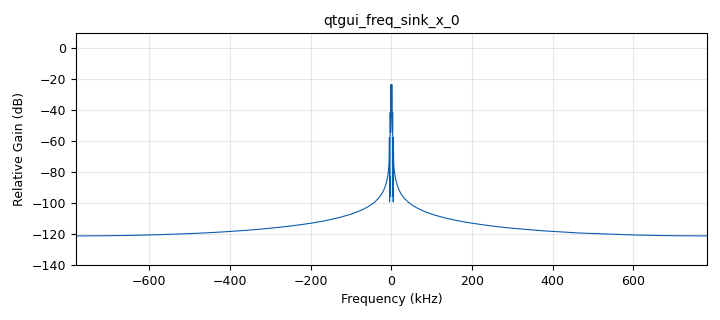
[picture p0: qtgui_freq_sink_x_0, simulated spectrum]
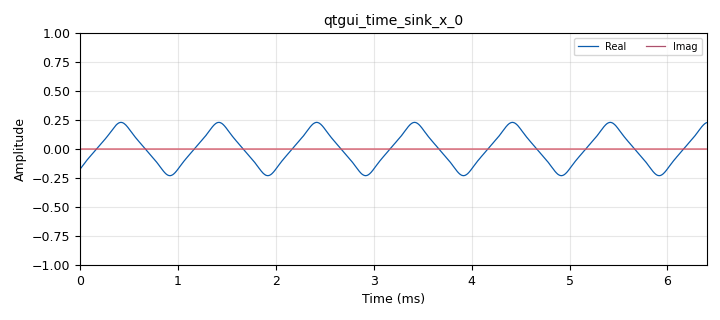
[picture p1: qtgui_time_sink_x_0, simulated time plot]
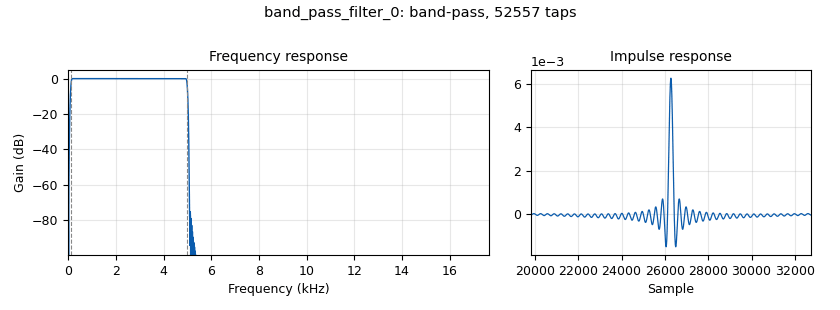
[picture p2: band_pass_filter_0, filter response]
options:
  parameters:
    author: Oscar Reyes / Efrén Acevedo
    generate_options: qt_gui
    id: simple_flowgraph
    output_language: python
    title: Simple flowgraph to test GNU Radio
  states: {}

blocks:
- name: GTX
  id: variable_qtgui_range
  parameters:
    comment: Ganancia del transmisor
    gui_hint: tab_usrp@0:2,0
    label: Tx gain in dB
    start: '0'
    step: '1'
    stop: '30'
    value: '30'
  states: {}
- name: amplitude
  id: variable_qtgui_range
  parameters:
    comment: |-
      Bloque ajuste de variables 
      mientras se ejecuta el flujograma
    gui_hint: tab_source@0:1,0
    label: Amplitude
    start: '0'
    step: '0.1'
    stop: '0.5'
    value: '0.5'
  states: {}
- name: desv_freq
  id: variable_qtgui_range
  parameters:
    gui_hint: tab_channel@0:5,0
    label: Frequency Offset in Hz
    start: '0'
    step: '10'
    stop: 21.05e3
    value: '0'
  states: {}
- name: f_max
  id: variable_qtgui_range
  parameters:
    gui_hint: tab_channel@0:4,0
    label: High Cutoff Frequency in Hz
    start: '0'
    step: '10'
    stop: 21.05e3
    value: '5000'
  states: {}
- name: f_min
  id: variable_qtgui_range
  parameters:
    gui_hint: tab_channel@0:3,0
    label: Low Cutoff Frequency in Hz
    start: '10'
    step: '10'
    stop: 5e3
    value: '100'
  states: {}
- name: fc
  id: variable_qtgui_range
  parameters:
    comment: Frecuencia de portadora
    gui_hint: tab_usrp@0:1,0
    label: Carrier Frequency in MHz
    start: '50'
    step: '0.1'
    stop: '2200'
    value: '100'
  states: {}
- name: frequency
  id: variable_qtgui_range
  parameters:
    gui_hint: tab_source@0:2,0
    label: Frequency in Hz
    start: '0'
    step: '100'
    stop: 1e4
    value: 1e3
  states: {}
- name: noise
  id: variable_qtgui_range
  parameters:
    comment: Amplitud del ruido
    gui_hint: tab_channel@0:1,0
    label: Noise voltage
    start: '0'
    step: '0.01'
    stop: '0.5'
    value: '0'
  states: {}
- name: offset
  id: variable_qtgui_range
  parameters:
    gui_hint: tab_source@0:1,1
    label: Offset
    start: '-5'
    step: '0.1'
    stop: '5'
    value: '0'
  states: {}
- name: phase
  id: variable_qtgui_range
  parameters:
    gui_hint: tab_source@0:2,1
    label: Phase Rad
    start: '0'
    step: '0.1'
    stop: 2*np.pi
    value: '0'
  states: {}
- name: samp_rate
  id: variable
  parameters:
    comment: |-
      Bloque usado para configurar 
      valores de variables que no se
      van a actualizar durante la ejecución
    value: '1562500'
  states: {}
- name: source_type
  id: variable_qtgui_chooser
  parameters:
    comment: |-
      Bloque usado para cambiar 
      el tipo de dato de la fuente
      (complejo o flotante)
    gui_hint: tab_source@0:0,0
    label: Source Type
    labels: '["Complex", "Float"]'
    num_opts: '0'
    options: '[0, 1]'
    type: raw
    value: '1'
  states: {}
- name: waveform
  id: variable_qtgui_chooser
  parameters:
    comment: |-
      Bloque usado para cambiar 
      los tipos de formas de onda
    gui_hint: tab_source@0:0,1
    label: Waveform
    labels: '["Constant", "Sine", "Cosine", "Square", "Triangle", "Saw Tooth"]'
    num_opts: '0'
    options: '[100, 101, 102, 103, 104, 105]'
    type: raw
    value: '104'
  states: {}
- name: analog_sig_source_x_0
  id: analog_sig_source_x
  parameters:
    amp: amplitude
    comment: |-
      Fuente virtual COMPLEJA, 
      genera diferentes formas de onda
    freq: frequency
    offset: offset
    phase: phase
    samp_rate: samp_rate
    type: complex
    waveform: waveform
  states: {}
- name: analog_sig_source_x_0_0
  id: analog_sig_source_x
  parameters:
    amp: amplitude
    comment: |-
      Fuente virtual REAL, 
      genera diferentes formas de onda
    freq: frequency
    offset: offset
    phase: phase
    samp_rate: samp_rate
    type: float
    waveform: waveform
  states: {}
- name: band_pass_filter_0
  id: band_pass_filter
  parameters:
    gain: '1'
    high_cutoff_freq: f_max
    interp: '1'
    low_cutoff_freq: f_min
    samp_rate: samp_rate
    type: interp_fir_filter_ccf
    width: '100'
    win: window.WIN_BLACKMAN
  states: {}
- name: blocks_float_to_complex_0
  id: blocks_float_to_complex
  parameters: {}
  states: {}
- name: blocks_selector_0
  id: blocks_selector
  parameters:
    enabled: 'True'
    input_index: source_type
    num_inputs: '2'
    num_outputs: '1'
    output_index: '0'
    type: complex
  states: {}
- name: blocks_throttle2_0
  id: blocks_throttle2
  parameters:
    comment: |-
      Bloque que permite regular
      el flujo de datos de las fuentes
    samples_per_second: samp_rate
    type: complex
  states: {}
- name: channels_channel_model_0
  id: channels_channel_model
  parameters:
    comment: |-
      Bloque usado para 
      crear un modelo de 
      canal
    epsilon: '1.0'
    freq_offset: desv_freq/samp_rate
    noise_voltage: noise
    seed: '0'
    taps: '1.0'
  states: {}
- name: import_1
  id: import
  parameters:
    comment: |-
      Usado para importar modulos 
      de python adicionales
    imports: import numpy as np
  states: {}
- name: qtgui_freq_sink_x_0
  id: qtgui_freq_sink_x
  parameters:
    bw: samp_rate
    fc: '0'
    fftsize: '16384'
    grid: 'True'
    gui_hint: 3,2,6,2
    type: complex
    wintype: window.WIN_RECTANGULAR
  states: {}
- name: qtgui_time_sink_x_0
  id: qtgui_time_sink_x
  parameters:
    grid: 'True'
    gui_hint: 3,0,6,2
    label1: Real
    label2: Imag
    size: '10000'
    srate: samp_rate
    type: complex
  states: {}
- name: tab_channel
  id: qtgui_tab_widget
  parameters:
    gui_hint: 0,2,3,1
    label0: Channel Controls
    num_tabs: '1'
  states: {}
- name: tab_source
  id: qtgui_tab_widget
  parameters:
    gui_hint: 0,0,3,2
    label0: Source Controls
    num_tabs: '1'
  states: {}
- name: tab_usrp
  id: qtgui_tab_widget
  parameters:
    gui_hint: 0,3,3,1
    label0: USRP Controls
    num_tabs: '1'
  states: {}
- name: uhd_usrp_sink_0_0
  id: uhd_usrp_sink
  parameters:
    ant0: '"TX/RX"'
    center_freq0: fc*1e6
    comment: |-
      Bloque usado para conectar 
      el PC con el USRP
    gain0: GTX
    samp_rate: samp_rate
    sync: pc_clock
    type: fc32
  states: {state: disabled}
- name: virtual_sink_0
  id: virtual_sink
  parameters:
    comment: Source + Channel model
    stream_id: source
  states: {}
- name: virtual_sink_0_0
  id: virtual_sink
  parameters:
    comment: Source without channel model
    stream_id: source
  states: {state: disabled}
- name: virtual_source_0
  id: virtual_source
  parameters:
    stream_id: source
  states: {}

connections:
- [analog_sig_source_x_0, '0', blocks_selector_0, '0']
- [analog_sig_source_x_0_0, '0', blocks_float_to_complex_0, '0']
- [band_pass_filter_0, '0', virtual_sink_0, '0']
- [blocks_float_to_complex_0, '0', blocks_selector_0, '1']
- [blocks_selector_0, '0', blocks_throttle2_0, '0']
- [blocks_selector_0, '0', virtual_sink_0_0, '0']
- [blocks_throttle2_0, '0', channels_channel_model_0, '0']
- [channels_channel_model_0, '0', band_pass_filter_0, '0']
- [virtual_source_0, '0', qtgui_freq_sink_x_0, '0']
- [virtual_source_0, '0', qtgui_time_sink_x_0, '0']
- [virtual_source_0, '0', uhd_usrp_sink_0_0, '0']

metadata:
  file_format: 1
  grc_version: v3.10.11.0-89-ga17f69e7
